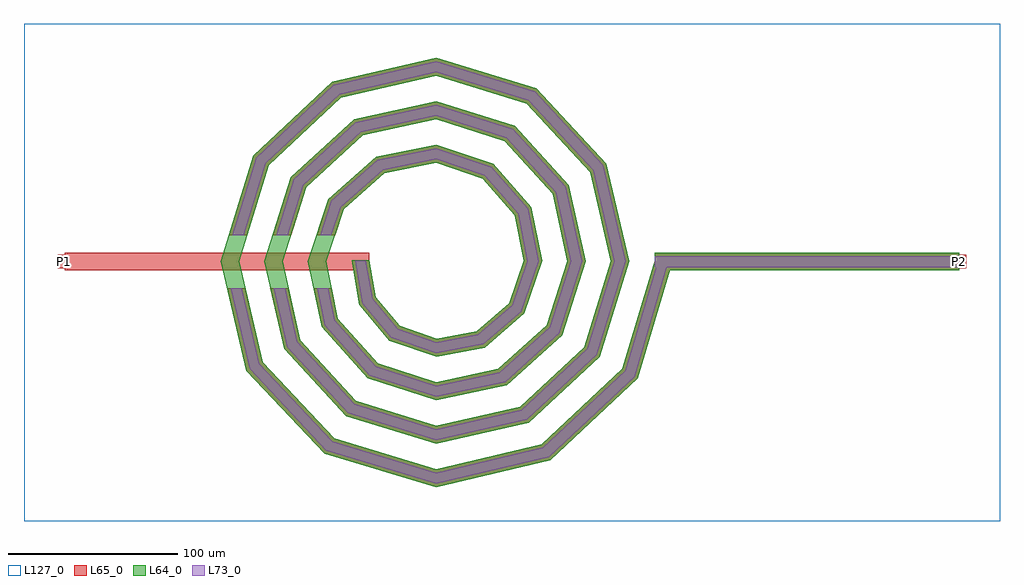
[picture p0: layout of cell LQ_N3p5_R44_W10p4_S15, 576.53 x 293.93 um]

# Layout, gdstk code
import gdstk
lib = gdstk.Library(unit=1e-6, precision=1e-09)
def R(c, l, rs):  # rectangles x0, y0, x1, y1
    for r in rs: c.add(gdstk.rectangle(r[:2], r[2:], *l))
def P(c, l, *ps):  # polygons
    for p in ps: c.add(gdstk.Polygon(p, *l))
L64_0 = (64, 0)
L65_0 = (65, 0)
L73_0 = (73, 0)
L127_0 = (127, 0)

lq_n3p5_r44_w10p4_s15 = lib.new_cell('LQ_N3p5_R44_W10p4_S15')
R(lq_n3p5_r44_w10p4_s15, L64_0, [(129.229,-5.2,309.229,5.2)])
P(lq_n3p5_r44_w10p4_s15, L64_0, [(-35.52,-21.039),(-21.329,-37.823),(0.421,-45.56),(24.2,-41.107),(43.357,-24.583),(51.98,0.374),(46.689,27.373),(27.828,48.897),(0.337,58.401),(-30.553,52.267),(-54.442,31.067),(-64.822,0.306),(-57.843,-33.739),(-34.302,-59.99),(0.28,-71.244),(36.929,-63.417),(65.54,-37.533),(77.666,0.259),(68.989,40.122),(40.761,71.092),(0.24,84.089),(-43.318,74.559),(-76.645,43.987),(-90.511,0.224),(-80.129,-46.516),(-47.21,-82.2),(0.21,-96.934),(49.715,-85.698),(87.756,-50.433),(103.356,0.198),(91.266,52.916),(53.654,93.312),(0.187,109.779),(-56.119,96.834),(-98.869,56.874),(-116.202,0.177),(-102.401,-59.322),(-60.094,-104.427),(0.168,-122.624),(62.526,-107.967),(109.985,-63.312),(129.448,1.496),(139.409,-1.496),(119.144,-68.975),(67.621,-117.453),(0.168,-133.387),(-65.771,-113.577),(-111.895,-64.402),(-126.964,0.177),(-108.009,62.567),(-61.182,106.337),(0.187,120.54),(59.364,102.441),(100.779,57.961),(114.117,0.198),(96.873,-56.162),(54.739,-95.222),(0.21,-107.693),(-52.962,-91.304),(-89.666,-51.516),(-101.27,0.224),(-85.733,49.763),(-48.291,84.111),(0.24,94.846),(46.566,80.162),(78.557,45.063),(88.422,0.259),(74.589,-43.371),(41.834,-73.004),(0.28,-81.998),(-40.178,-69.014),(-67.452,-38.601),(-75.574,0.306),(-63.437,36.99),(-35.363,61.903),(0.337,69.15),(33.806,57.856),(56.356,32.121),(62.724,0.374),(52.272,-30.628),(28.87,-50.813),(0.421,-56.298),(-27.459,-46.681),(-45.275,-25.609),(-49.627,0.902),(-39.385,0.902)])
R(lq_n3p5_r44_w10p4_s15, L65_0, [(-219.306,-5.2,-39.306,5.2), (129.229,-5.2,309.229,5.2), (-223.306,-4,-215.306,4), (305.229,-4,313.229,4)])
P(lq_n3p5_r44_w10p4_s15, L65_0, [(-102.401,-59.322),(-60.094,-104.427),(0.168,-122.624),(62.526,-107.967),(109.985,-63.312),(129.448,1.496),(139.409,-1.496),(119.144,-68.975),(67.621,-117.453),(0.168,-133.387),(-65.771,-113.577),(-111.895,-64.402),(-123.282,-15.6),(-112.603,-15.6)],
  [(-80.129,-46.516),(-47.211,-82.2),(0.21,-96.934),(49.715,-85.698),(87.756,-50.433),(103.356,0.198),(91.266,52.916),(53.654,93.312),(0.187,109.779),(-56.119,96.834),(-98.87,56.875),(-111.409,15.6),(-122.278,15.6),(-108.009,62.567),(-61.182,106.337),(0.187,120.54),(59.364,102.442),(100.779,57.961),(114.117,0.198),(96.873,-56.163),(54.739,-95.222),(0.21,-107.693),(-52.962,-91.304),(-89.666,-51.516),(-97.721,-15.6),(-87.063,-15.6)],
  [(-57.843,-33.739),(-34.302,-59.99),(0.28,-71.244),(36.929,-63.417),(65.54,-37.533),(77.666,0.259),(68.989,40.122),(40.761,71.092),(0.24,84.089),(-43.318,74.56),(-76.645,43.987),(-85.548,15.6),(-96.448,15.6),(-85.733,49.763),(-48.291,84.111),(0.24,94.846),(46.566,80.162),(78.557,45.063),(88.422,0.259),(74.589,-43.371),(41.834,-73.004),(0.28,-81.999),(-40.178,-69.014),(-67.452,-38.601),(-72.254,-15.6),(-61.63,-15.6)],
  [(-21.329,-37.823),(0.421,-45.56),(24.2,-41.107),(43.357,-24.583),(51.98,0.374),(46.689,27.373),(27.829,48.897),(0.337,58.401),(-30.553,52.267),(-54.442,31.068),(-59.56,15.6),(-70.514,15.6),(-63.437,36.99),(-35.363,61.903),(0.337,69.15),(33.806,57.856),(56.356,32.121),(62.725,0.374),(52.272,-30.628),(28.87,-50.813),(0.421,-56.298),(-27.459,-46.681),(-45.275,-25.609),(-49.627,0.902),(-39.385,0.902),(-35.52,-21.039)])
R(lq_n3p5_r44_w10p4_s15, L73_0, [(129.229,-3.2,309.229,3.2)])
P(lq_n3p5_r44_w10p4_s15, L73_0, [(-104.227,-60.299),(-61.186,-106.187),(0.103,-124.694),(63.506,-109.792),(111.747,-64.401),(131.364,0.92),(137.493,0.92),(117.382,-67.886),(66.641,-115.629),(0.103,-131.317),(-64.679,-111.817),(-110.069,-63.425),(-121.228,-15.6),(-114.657,-15.6)],
  [(-81.963,-47.477),(-48.317,-83.951),(0.129,-99.003),(50.682,-87.53),(89.509,-51.535),(105.426,0.122),(93.096,53.887),(54.752,95.068),(0.115,111.848),(-57.092,98.661),(-100.627,57.969),(-113.499,15.6),(-120.188,15.6),(-106.252,61.472),(-60.208,104.509),(0.115,118.471),(58.266,100.686),(98.95,56.991),(112.048,0.122),(95.12,-55.061),(53.773,-93.391),(0.129,-105.624),(-51.856,-89.553),(-87.832,-50.554),(-95.671,-15.6),(-89.112,-15.6)],
  [(-59.691,-34.674),(-35.432,-61.725),(0.173,-73.312),(37.872,-65.26),(67.28,-38.655),(79.735,0.159),(70.829,41.072),(41.877,72.836),(0.148,86.157),(-44.274,76.396),(-78.393,45.097),(-87.644,15.6),(-94.352,15.6),(-83.986,48.652),(-47.334,82.274),(0.148,92.777),(45.449,78.418),(76.717,44.113),(86.354,0.159),(72.849,-42.248),(40.89,-71.16),(0.173,-79.93),(-39.048,-67.279),(-65.604,-37.666),(-70.211,-15.6),(-63.673,-15.6)],
  [(-22.508,-39.526),(0.259,-47.625),(25.098,-42.974),(45.071,-25.746),(54.046,0.23),(48.548,28.286),(28.978,50.62),(0.207,60.468),(-31.478,54.12),(-56.172,32.206),(-61.666,15.6),(-68.407,15.6),(-61.707,35.851),(-34.438,60.05),(0.207,67.083),(32.656,56.134),(54.497,31.208),(60.658,0.23),(50.557,-29.466),(27.972,-48.947),(0.259,-54.233),(-26.28,-44.977),(-43.399,-24.73),(-47.658,0.555),(-41.355,0.555),(-37.396,-21.917)])
R(lq_n3p5_r44_w10p4_s15, L127_0, [(-243.306,-153.387,333.229,140.54)])
lq_n3p5_r44_w10p4_s15.add(gdstk.Label('P2', (309.229,0), layer=65, texttype=0))
lq_n3p5_r44_w10p4_s15.add(gdstk.Label('P1', (-219.306,0), layer=65, texttype=0))
lq_n3p5_r44_w10p4_s15.add(gdstk.Label('P2', (313.229,0), layer=145, texttype=0))
lq_n3p5_r44_w10p4_s15.add(gdstk.Label('P1', (-223.306,0), layer=145, texttype=0))

lib.write_gds('LQ_N3p5_R44_W10p4_S15.gds')
